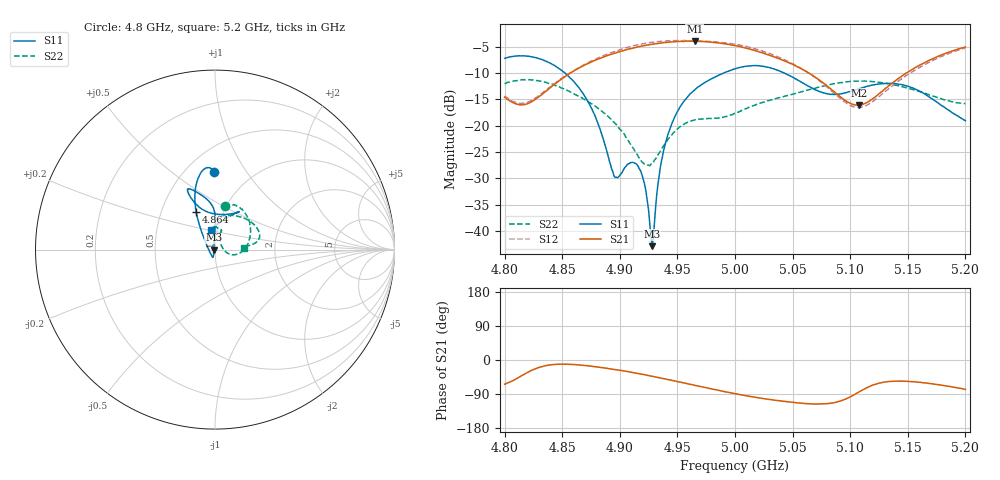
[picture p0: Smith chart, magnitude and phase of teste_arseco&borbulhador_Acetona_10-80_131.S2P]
! Network Analyzer HP8722D
! Hewlett-Packard
! Data name: Linha & Wilkinson
! Saver's name: Rodrigo Anjos
! Comments: Teste da utilização de aquisição
! continua pelo VNA HP8722D
! Time and date: 25/4/2025 16:21
!  Frequency  S11  S21  S12  S22
# HZ  S  MA R 50
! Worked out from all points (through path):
!   401 points, 4.8 GHz to 5.2 GHz, reference 50 ohm
!   highest |S21| = -3.97 dB at 4.965 GHz (marker M1); lowest = -16.1 dB at 5.108 GHz (marker M2)
!   lowest |S11| = -42.9 dB at 4.928 GHz (marker M3), VSWR 1.01, Z = 49.3 - j0.0899 ohm
!   |S11| at or under -10 dB: 4.852 GHz to 4.991 GHz (138.4 MHz wide, 2.81 % of centre); 5.042 GHz to end of sweep
!   |S22| runs from -27.6 to -11.3 dB; largest |S21 - S12| = 1.2
!   S11 on the Smith chart (normalised r, x): 4.8 GHz: 0.68, +0.72; 4.864 GHz: 0.75, +0.33; 5.2 GHz: 0.94, +0.21
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4.8e9  0.4345 90.8  0.186 -63.9  0.1911 69.6  0.2495 77.4
4.82e9  0.4542 97.0  0.1612 -32.5  0.1667 98.4  0.2725 61.8
4.864e9  0.2326 116.7  0.3484 -12.7  0.3527 121.0  0.1904 12.2
4.867e9  0.2089 118.5  0.3632 -13.8  0.367 120.7  0.1835 8.7
4.88e9  0.112 128.7  0.4221 -18.3  0.4319 118.4  0.1486 -5.1
4.896e9  0.03221 -166.2  0.488 -25.2  0.5056 113.3  0.1044 -16.0
4.909e9  0.0444 -107.6  0.5346 -31.8  0.5596 107.7  0.06713 -14.1
4.917e9  0.03865 -102.8  0.5611 -36.3  0.5885 103.5  0.0488 -1.5
4.922e9  0.02624 -107.3  0.5756 -39.1  0.6014 100.8  0.04235 16.1
4.928e9  0.007154 -172.7  0.5904 -42.8  0.6176 97.2  0.04379 40.6
4.93e9  0.01171 124.1  0.5954 -44.2  0.62 95.9  0.04679 48.0
4.934e9  0.03233 99.2  0.6016 -46.6  0.6292 93.3  0.05465 57.8
4.939e9  0.06374 93.2  0.6128 -49.7  0.6342 90.1  0.06656 65.6
4.946e9  0.1094 90.1  0.6233 -54.3  0.6379 85.8  0.08386 69.8
4.965e9  0.2182 91.1  0.6331 -66.9  0.6367 73.5  0.1133 71.5
5e9  0.3452 109.2  0.5732 -89.1  0.5928 50.9  0.1309 88.6
5.029e9  0.3571 115.1  0.4695 -103.8  0.4872 34.3  0.1721 86.0
5.067e9  0.2263 105.3  0.3015 -115.9  0.2988 23.6  0.222 57.4
5.108e9  0.2241 63.6  0.1561 -83.6  0.1482 59.5  0.2642 23.7
5.134e9  0.2515 57.4  0.2403 -56.6  0.2261 88.7  0.248 12.4
5.168e9  0.1886 69.4  0.4132 -61.6  0.3964 85.3  0.1964 7.0
5.2e9  0.111 100.5  0.556 -77.4  0.544 70.3  0.1614 3.8
